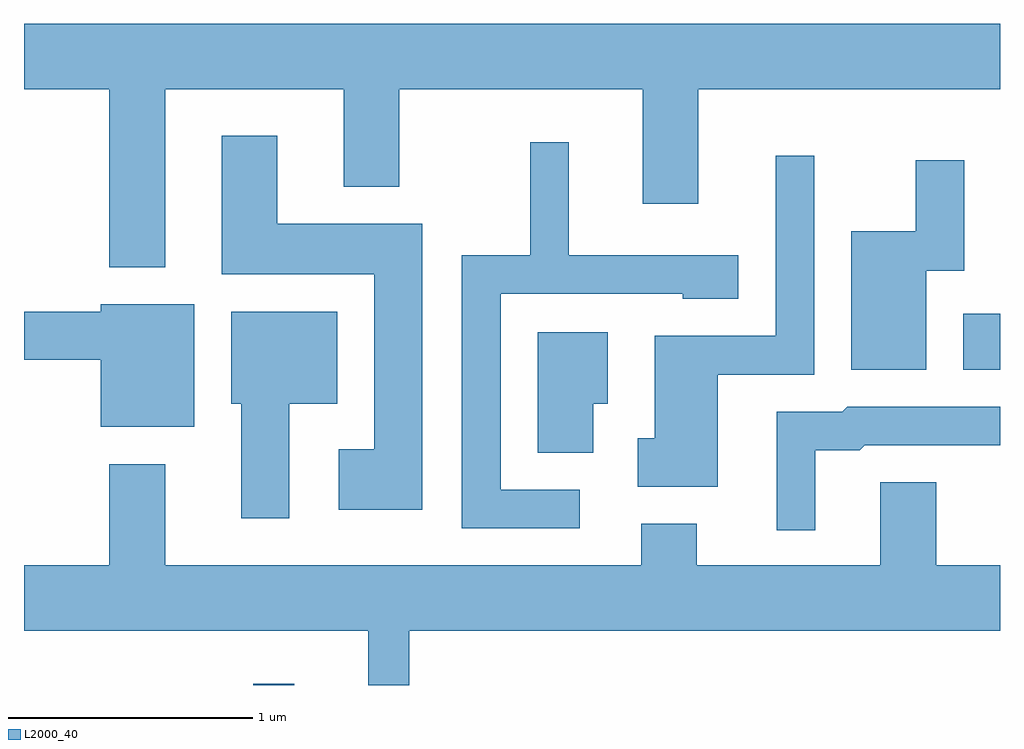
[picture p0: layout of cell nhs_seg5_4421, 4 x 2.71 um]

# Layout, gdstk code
import gdstk
lib = gdstk.Library(unit=1e-6, precision=1e-09)
def R(c, l, rs):  # rectangles x0, y0, x1, y1
    for r in rs: c.add(gdstk.rectangle(r[:2], r[2:], *l))
def P(c, l, *ps):  # polygons
    for p in ps: c.add(gdstk.Polygon(p, *l))
L2000_40 = (2000, 40)

nhs_seg5_4421 = lib.new_cell('nhs_seg5_4421')
R(nhs_seg5_4421, L2000_40, [(316.551,1512.072,316.719,1512.078), (319.461,1513.366,319.611,1513.594)])
P(nhs_seg5_4421, L2000_40, [(316.189,1514.516),(316.921,1514.516),(316.921,1514.116),(317.149,1514.116),(317.149,1514.516),(318.146,1514.516),(318.146,1514.046),(318.374,1514.046),(318.374,1514.516),(319.611,1514.516),(319.611,1514.784),(315.611,1514.784),(315.611,1514.516),(315.961,1514.516),(315.961,1513.786),(316.189,1513.786)],
  [(317.244,1513.964),(316.649,1513.964),(316.649,1514.324),(316.421,1514.324),(316.421,1513.756),(317.046,1513.756),(317.046,1513.039),(316.901,1513.039),(316.901,1512.791),(317.244,1512.791)],
  [(317.888,1512.874),(317.564,1512.874),(317.564,1513.676),(318.311,1513.676),(318.311,1513.656),(318.539,1513.656),(318.539,1513.834),(317.844,1513.834),(317.844,1514.298),(317.686,1514.298),(317.686,1513.834),(317.406,1513.834),(317.406,1512.716),(317.888,1512.716)],
  [(318.454,1513.346),(318.849,1513.346),(318.849,1514.243),(318.691,1514.243),(318.691,1513.504),(318.196,1513.504),(318.196,1513.084),(318.126,1513.084),(318.126,1512.886),(318.454,1512.886)],
  [(319.309,1513.771),(319.464,1513.771),(319.464,1514.224),(319.266,1514.224),(319.266,1513.934),(319.001,1513.934),(319.001,1513.366),(319.309,1513.366)],
  [(316.309,1513.634),(315.926,1513.634),(315.926,1513.604),(315.611,1513.604),(315.611,1513.406),(315.926,1513.406),(315.926,1513.131),(316.309,1513.131)],
  [(316.699,1513.226),(316.894,1513.226),(316.894,1513.604),(316.461,1513.604),(316.461,1513.226),(316.501,1513.226),(316.501,1512.756),(316.699,1512.756)],
  [(317.944,1513.226),(318.004,1513.226),(318.004,1513.519),(317.716,1513.519),(317.716,1513.026),(317.944,1513.026)],
  [(318.854,1513.036),(319.037,1513.036),(319.057,1513.056),(319.611,1513.056),(319.611,1513.214),(318.984,1513.214),(318.964,1513.194),(318.696,1513.194),(318.696,1512.708),(318.854,1512.708)],
  [(316.189,1512.979),(315.961,1512.979),(315.961,1512.564),(315.611,1512.564),(315.611,1512.296),(317.021,1512.296),(317.021,1512.072),(317.189,1512.072),(317.189,1512.296),(319.611,1512.296),(319.611,1512.564),(319.349,1512.564),(319.349,1512.904),(319.121,1512.904),(319.121,1512.564),(318.369,1512.564),(318.369,1512.734),(318.141,1512.734),(318.141,1512.564),(316.189,1512.564)])

lib.write_gds('nhs_seg5_4421.gds')
